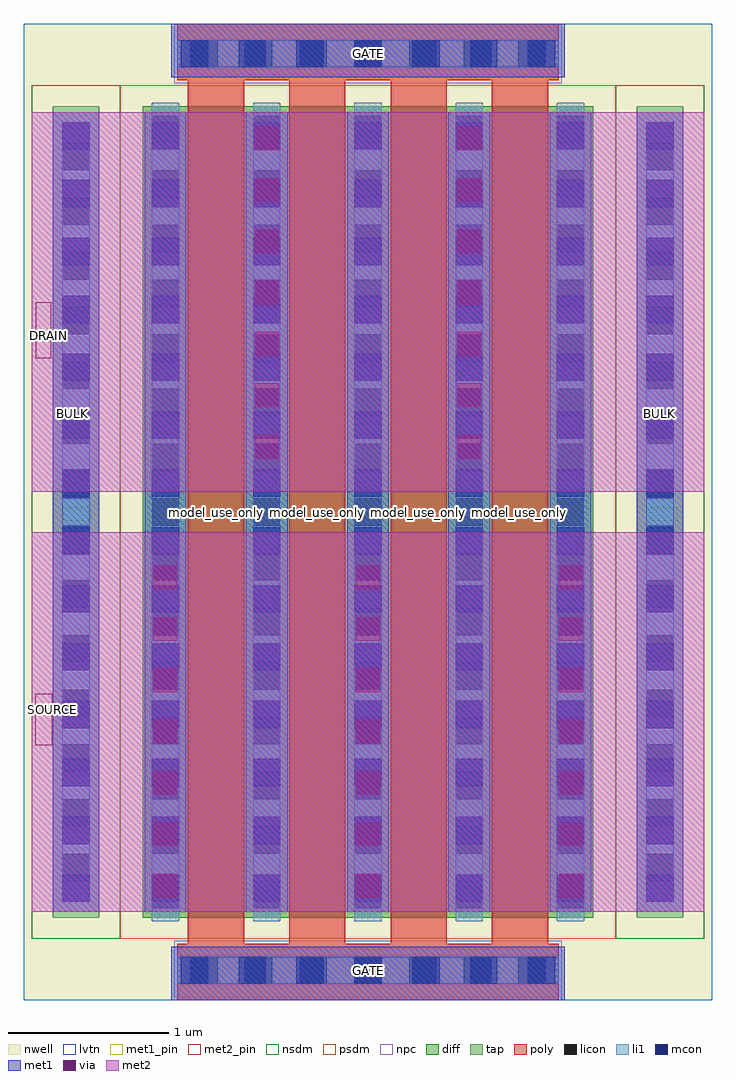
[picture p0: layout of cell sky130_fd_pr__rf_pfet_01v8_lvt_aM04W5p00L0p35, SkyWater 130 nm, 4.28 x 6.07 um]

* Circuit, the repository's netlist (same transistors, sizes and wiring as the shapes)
* Copyright 2020 The SkyWater PDK Authors
*
* Licensed under the Apache License, Version 2.0 (the "License");
* you may not use this file except in compliance with the License.
* You may obtain a copy of the License at
*
*     https://www.apache.org/licenses/LICENSE-2.0
*
* Unless required by applicable law or agreed to in writing, software
* distributed under the License is distributed on an "AS IS" BASIS,
* WITHOUT WARRANTIES OR CONDITIONS OF ANY KIND, either express or implied.
* See the License for the specific language governing permissions and
* limitations under the License.
*
* SPDX-License-Identifier: Apache-2.0


.subckt sky130_fd_pr__rf_pfet_01v8_lvt_aM04W5p00L0p35 BULK DRAIN GATE SOURCE
X0 DRAIN GATE SOURCE BULK sky130_fd_pr__pfet_01v8_lvt w=5.05e+06u l=350000u
X1 SOURCE GATE DRAIN BULK sky130_fd_pr__pfet_01v8_lvt w=5.05e+06u l=350000u
X2 DRAIN GATE SOURCE BULK sky130_fd_pr__pfet_01v8_lvt w=5.05e+06u l=350000u
X3 SOURCE GATE DRAIN BULK sky130_fd_pr__pfet_01v8_lvt w=5.05e+06u l=350000u
.ends

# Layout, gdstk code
import gdstk
lib = gdstk.Library(unit=1e-6, precision=1e-09)
def R(c, l, rs):  # rectangles x0, y0, x1, y1
    for r in rs: c.add(gdstk.rectangle(r[:2], r[2:], *l))
def A(c, l, x, y, w, h, nx, ny, dx, dy):  # array of equal rectangles
    R(c, l, [(x+i*dx, y+j*dy, x+i*dx+w, y+j*dy+h) for i in range(nx) for j in range(ny)])
nwell = (64, 20)
diff = (65, 20)
tap = (65, 44)
poly = (66, 20)
licon = (66, 44)
li1 = (67, 20)
mcon = (67, 44)
met1_pin = (68, 16)
met1 = (68, 20)
via = (68, 44)
met2_pin = (69, 16)
met2 = (69, 20)
nsdm = (93, 44)
psdm = (94, 20)
npc = (95, 20)
lvtn = (125, 44)

sky130_fd_pr__rf_pfet_01 = lib.new_cell('sky130_fd_pr__rf_pfet_01v8_lvt_aM04W5p00L0p35')
R(sky130_fd_pr__rf_pfet_01, nwell, [(0,0,4.28,6.07)])
R(sky130_fd_pr__rf_pfet_01, diff, [(0.74,0.51,3.54,5.56)])
R(sky130_fd_pr__rf_pfet_01, tap, [(0.18,0.51,0.47,5.56), (3.81,0.51,4.1,5.56)])
A(sky130_fd_pr__rf_pfet_01, poly, 1.02, 0.35, 0.35, 5.37, 4, 1, 0.63, 0)
R(sky130_fd_pr__rf_pfet_01, poly, [(0.955,0,3.325,0.35), (0.955,5.72,3.325,6.07)])
A(sky130_fd_pr__rf_pfet_01, licon, 1.035, 0.1, 0.17, 0.17, 7, 2, 0.34, 5.7)
A(sky130_fd_pr__rf_pfet_01, licon, 0.795, 0.57, 0.17, 0.17, 5, 15, 0.63, 0.34)
A(sky130_fd_pr__rf_pfet_01, licon, 0.24, 0.74, 0.17, 0.17, 1, 14, 0, 0.34)
A(sky130_fd_pr__rf_pfet_01, licon, 3.87, 0.74, 0.17, 0.17, 1, 14, 0, 0.34)
A(sky130_fd_pr__rf_pfet_01, li1, 0.795, 0.49, 0.17, 5.09, 5, 1, 0.63, 0)
A(sky130_fd_pr__rf_pfet_01, li1, 0.795, 1.69, 0.17, 2.69, 5, 1, 0.63, 0)
R(sky130_fd_pr__rf_pfet_01, li1, [(0.955,0.1,3.325,0.27), (0.24,0.61,0.41,5.46), (3.87,0.61,4.04,5.46), (0.24,0.66,0.41,5.41), (3.87,0.66,4.04,5.41), (0.24,1.68,0.41,4.39), (3.87,1.68,4.04,4.39), (0.955,5.8,3.325,5.97)])
A(sky130_fd_pr__rf_pfet_01, mcon, 0.975, 0.1, 0.17, 0.17, 7, 2, 0.36, 5.7)
A(sky130_fd_pr__rf_pfet_01, mcon, 0.24, 0.61, 0.17, 0.17, 1, 14, 0, 0.36)
A(sky130_fd_pr__rf_pfet_01, mcon, 0.795, 0.61, 0.17, 0.17, 5, 14, 0.63, 0.36)
A(sky130_fd_pr__rf_pfet_01, mcon, 3.87, 0.61, 0.17, 0.17, 1, 14, 0, 0.36)
R(sky130_fd_pr__rf_pfet_01, met1_pin, [(0.915,0,3.365,0.33), (0.245,2.98,0.415,3.06), (3.895,2.98,4.065,3.06), (0.915,5.74,3.365,6.07)])
A(sky130_fd_pr__rf_pfet_01, met1, 0.75, 0.55, 0.26, 2.24, 3, 1, 1.26, 0)
A(sky130_fd_pr__rf_pfet_01, met1, 0.75, 0.55, 0.26, 4.97, 5, 1, 0.63, 0)
R(sky130_fd_pr__rf_pfet_01, met1, [(0.915,0,3.365,0.33), (0.18,0.55,0.47,5.52), (3.81,0.55,4.1,5.52), (1.38,3.28,1.64,5.52), (2.64,3.28,2.9,5.52), (0.915,5.74,3.365,6.07)])
A(sky130_fd_pr__rf_pfet_01, via, 0.805, 0.635, 0.15, 0.15, 3, 7, 1.26, 0.32)
A(sky130_fd_pr__rf_pfet_01, via, 1.435, 3.365, 0.15, 0.15, 1, 7, 0, 0.32)
A(sky130_fd_pr__rf_pfet_01, via, 2.695, 3.365, 0.15, 0.15, 1, 7, 0, 0.32)
R(sky130_fd_pr__rf_pfet_01, met2_pin, [(0.07,1.585,0.175,1.905), (0.075,3.99,0.17,4.34)])
A(sky130_fd_pr__rf_pfet_01, met2, 0.75, 0.55, 0.26, 2.24, 3, 1, 1.26, 0)
R(sky130_fd_pr__rf_pfet_01, met2, [(0.05,0.55,4.23,2.91), (0.05,3.16,4.23,5.52), (1.38,3.28,1.64,5.52), (2.64,3.28,2.9,5.52)])
R(sky130_fd_pr__rf_pfet_01, nsdm, [(0.05,0.38,0.6,5.69), (3.68,0.38,4.23,5.69)])
R(sky130_fd_pr__rf_pfet_01, psdm, [(0.6,0.38,3.68,5.69)])
R(sky130_fd_pr__rf_pfet_01, npc, [(0.935,0,3.345,0.37), (0.935,5.7,3.345,6.07)])
R(sky130_fd_pr__rf_pfet_01, lvtn, [(0,0,4.28,6.07)])
sky130_fd_pr__rf_pfet_01.add(gdstk.Label('model_use_only', (1.825,3.03), layer=66, texttype=83))
sky130_fd_pr__rf_pfet_01.add(gdstk.Label('model_use_only', (1.195,3.03), layer=66, texttype=83))
sky130_fd_pr__rf_pfet_01.add(gdstk.Label('model_use_only', (3.085,3.03), layer=66, texttype=83))
sky130_fd_pr__rf_pfet_01.add(gdstk.Label('model_use_only', (2.455,3.03), layer=66, texttype=83))
sky130_fd_pr__rf_pfet_01.add(gdstk.Label('DRAIN', (0.155,4.135), layer=69, texttype=5))
sky130_fd_pr__rf_pfet_01.add(gdstk.Label('SOURCE', (0.175,1.805), layer=69, texttype=5))
sky130_fd_pr__rf_pfet_01.add(gdstk.Label('BULK', (0.3,3.65), layer=68, texttype=5))
sky130_fd_pr__rf_pfet_01.add(gdstk.Label('BULK', (3.95,3.65), layer=68, texttype=5))
sky130_fd_pr__rf_pfet_01.add(gdstk.Label('GATE', (2.14,5.885), layer=68, texttype=5))
sky130_fd_pr__rf_pfet_01.add(gdstk.Label('GATE', (2.14,0.185), layer=68, texttype=5))

lib.write_gds('sky130_fd_pr__rf_pfet_01v8_lvt_aM04W5p00L0p35.gds')
